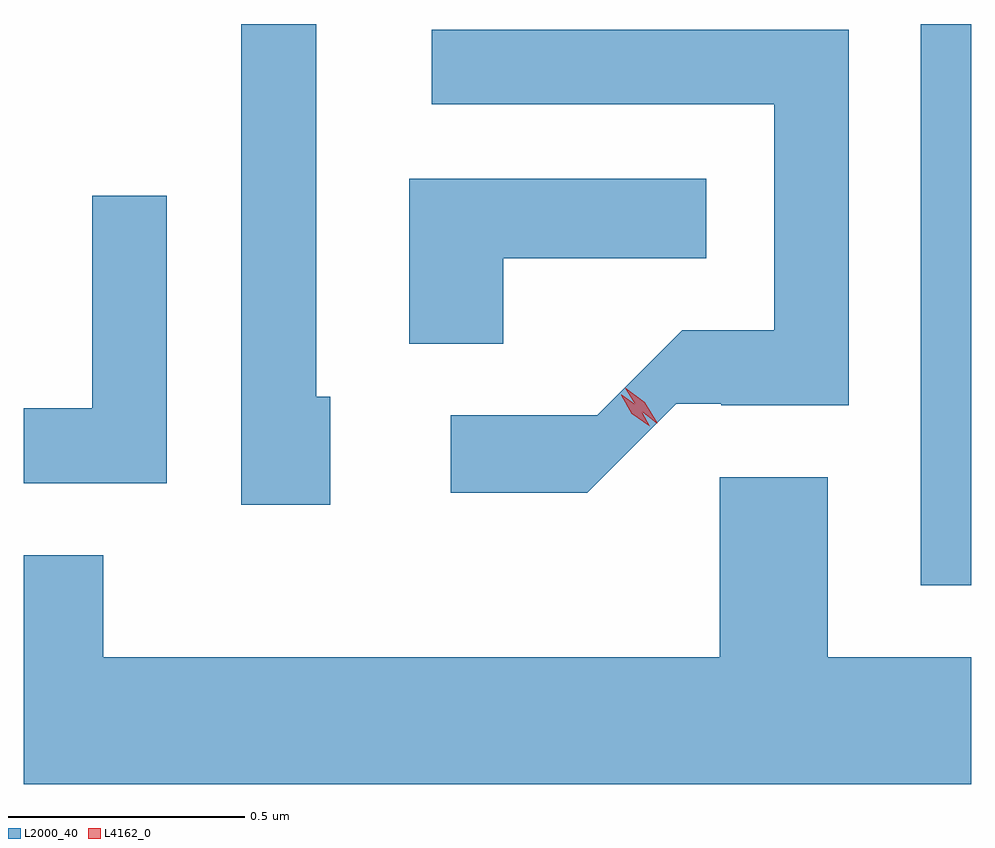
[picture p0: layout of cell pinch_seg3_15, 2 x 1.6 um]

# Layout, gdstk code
import gdstk
lib = gdstk.Library(unit=1e-6, precision=1e-09)
def R(c, l, rs):  # rectangles x0, y0, x1, y1
    for r in rs: c.add(gdstk.rectangle(r[:2], r[2:], *l))
def P(c, l, *ps):  # polygons
    for p in ps: c.add(gdstk.Polygon(p, *l))
L2000_40 = (2000, 40)
L4162_0 = (4162, 0)

pinch_seg3_15 = lib.new_cell('pinch_seg3_15')
R(pinch_seg3_15, L2000_40, [(830.206,1188.596,830.312,1189.781)])
P(pinch_seg3_15, L2000_40, [(828.959,1188.994),(828.929,1188.994),(828.929,1189.781),(828.771,1189.781),(828.771,1188.766),(828.959,1188.766)],
  [(829.69,1188.979),(829.785,1188.979),(829.785,1188.976),(830.054,1188.976),(830.054,1189.769),(829.173,1189.769),(829.173,1189.611),(829.896,1189.611),(829.896,1189.134),(829.702,1189.134),(829.523,1188.955),(829.213,1188.955),(829.213,1188.791),(829.502,1188.791)],
  [(829.324,1189.286),(829.753,1189.286),(829.753,1189.454),(829.126,1189.454),(829.126,1189.106),(829.324,1189.106)],
  [(828.614,1189.418),(828.456,1189.418),(828.456,1188.969),(828.312,1188.969),(828.312,1188.811),(828.614,1188.811)],
  [(830.312,1188.444),(830.009,1188.444),(830.009,1188.824),(829.781,1188.824),(829.781,1188.444),(828.479,1188.444),(828.479,1188.659),(828.312,1188.659),(828.312,1188.176),(830.312,1188.176)])
P(pinch_seg3_15, L4162_0, [(829.648,1188.938),(829.608,1188.969),(829.582,1189.012),(829.582,1189.013),(829.582,1189.013),(829.623,1188.982),(829.649,1188.939),(829.649,1188.938)],
  [(829.633,1188.932),(829.596,1188.958),(829.573,1188.997),(829.573,1188.998),(829.574,1188.998),(829.611,1188.972),(829.634,1188.932),(829.634,1188.932)])

lib.write_gds('pinch_seg3_15.gds')
